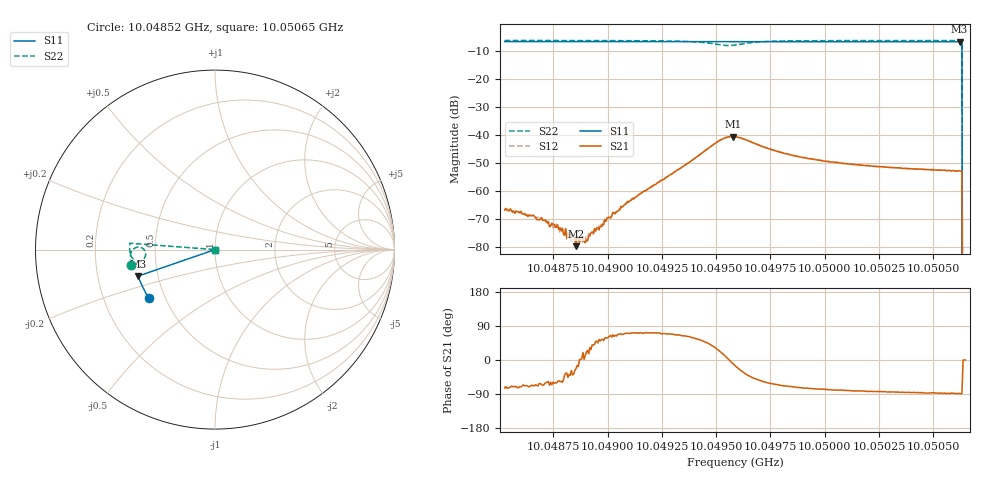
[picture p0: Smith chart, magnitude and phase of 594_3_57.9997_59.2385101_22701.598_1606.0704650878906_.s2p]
#  HZ  S  RI  R  50.00
! Rohde & Schwarz Vector Network Analyzer
! Rohde-Schwarz,ZNB20-2Port,1311601062101988,3.16
! Created: UTC 3/21/2024, 1:16:57 AM
! freq[Hz]  re:S11  im:S11  re:S21  im:S21  re:S12  im:S12  re:S22  im:S22
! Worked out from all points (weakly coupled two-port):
!   401 points, 10.04852 GHz to 10.05065 GHz, reference 50 ohm
!   highest |S21| = -40.59 dB at 10.04958 GHz (marker M1); lowest = -79.5 dB at 10.04885 GHz (marker M2)
!   lowest |S11| = -6.9 dB at 10.05062 GHz (marker M3), VSWR 2.65, Z = 19.3 - j7.2 ohm
!   |S11| at or under -10 dB: 10.05063 GHz to end of sweep
!   |S22| runs from - to -6.4 dB; largest |S21 - S12| = 0.0007
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1.0048525e10  -0.3668 -0.271  0.000128 -0.000446  0.000171 -0.000428  -0.4694 -0.0837
1.0048588e10  -0.3693 -0.2673  0.000122 -0.000414  0.000172 -0.000382  -0.47 -0.0791
1.00487e10  -0.3733 -0.2611  0.000118 -0.000277  0.000152 -0.00028  -0.4709 -0.0707
1.004878e10  -0.3762 -0.2568  0.000122 -0.000189  0.000143 -0.00011  -0.4716 -0.0645
1.0048806e10  -0.3771 -0.2554  0.000178 -0.000123  0.000175 -0.000117  -0.4716 -0.0624
1.0048822e10  -0.3776 -0.2544  0.000116 -8.94e-05  0.000143 -8.08e-05  -0.4718 -0.0611
1.0048854e10  -0.3787 -0.2526  9.74e-05 -4.06e-05  0.000107 -4.34e-05  -0.4719 -0.0585
1.004888e10  -0.3796 -0.2512  0.000159 8.54e-06  0.000119 -2.04e-06  -0.4722 -0.0563
1.0048902e10  -0.3804 -0.2501  0.000126 4.81e-05  0.000125 4.21e-05  -0.4721 -0.0545
1.0048928e10  -0.3814 -0.2485  0.000144 0.000122  0.000157 8.75e-05  -0.4721 -0.0523
1.0048971e10  -0.3829 -0.246  0.000142 0.000191  0.00013 0.000222  -0.472 -0.0485
1.0048997e10  -0.3838 -0.2445  0.00018 0.000287  0.000156 0.000283  -0.472 -0.0461
1.0049082e10  -0.3866 -0.2398  0.000199 0.000558  0.000153 0.000568  -0.4716 -0.0381
1.0049236e10  -0.3915 -0.2308  0.00046 0.00137  0.000407 0.00143  -0.4684 -0.0204
1.0049507e10  -0.3992 -0.2149  0.00673 0.00349  0.00649 0.00393  -0.4056 0.00899
1.0049576e10  -0.4009 -0.2112  0.00923 -0.00149  0.00934 -0.000844  -0.3883 -0.0381
1.0049586e10  -0.4012 -0.2108  0.00896 -0.00241  0.00915 -0.00177  -0.3921 -0.0458
1.0049783e10  -0.4074 -0.1995  0.00212 -0.00461  0.00241 -0.00452  -0.462 -0.0456
1.0049942e10  -0.4118 -0.1897  0.000937 -0.0036  0.00113 -0.00357  -0.4717 -0.0234
1.0050298e10  -0.4206 -0.1681  0.000288 -0.00263  0.000431 -0.00263  -0.4755 0.0101
1.0050622e10  -0.4274 -0.1482  5.94e-05 -0.00228  0.000181 -0.00227  -0.4745 0.0349
1.0050648e10  0 0  0 0  0 0  0 0
